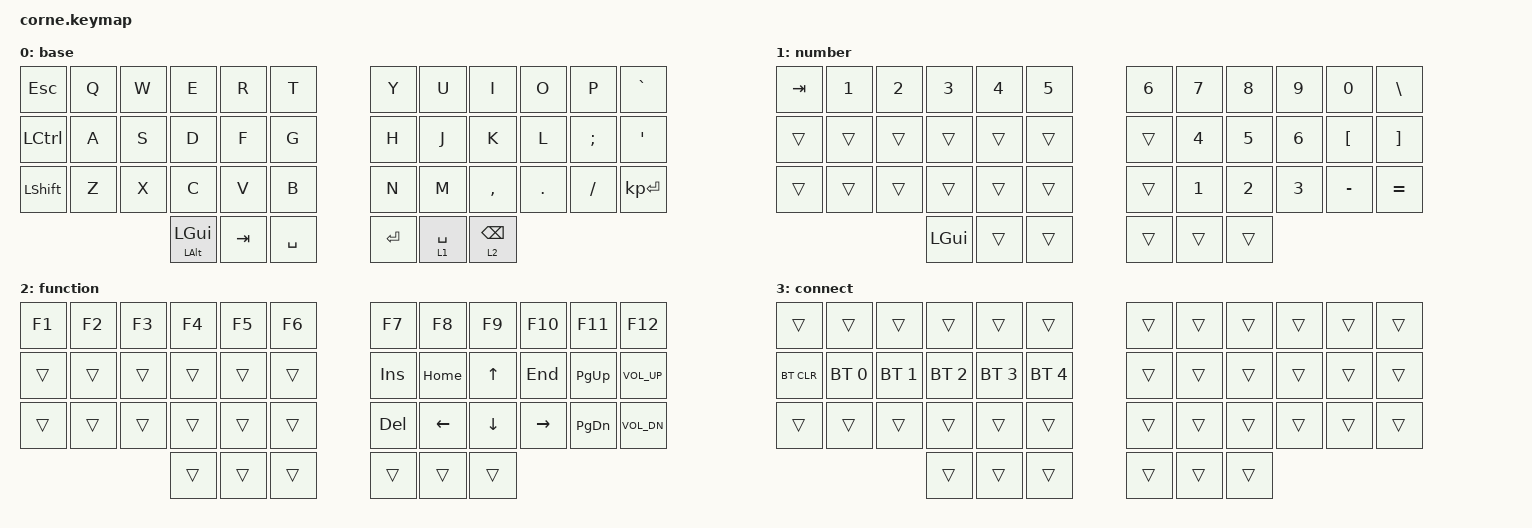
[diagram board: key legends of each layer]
/*
 * Copyright (c) 2020 The ZMK Contributors
 *
 * SPDX-License-Identifier: MIT
 */

#include <behaviors.dtsi>
#include <dt-bindings/zmk/bt.h>
#include <dt-bindings/zmk/keys.h>

&mt {
    tapping-term-ms = <125>;
    quick-tap-ms = <150>;
};

&lt {
    tapping-term-ms = <125>;
    quick-tap-ms = <150>;
};

/ {
    keymap {
        compatible = "zmk,keymap";

        default_layer {
            // -----------------------------------------------------------------------------------------
            // |  TAB |  Q  |  W  |  E  |  R  |  T  |   |  Y  |  U   |  I  |  O  |  P  | BSPC |
            // | CTRL |  A  |  S  |  D  |  F  |  G  |   |  H  |  J   |  K  |  L  |  ;  |  '   |
            // | SHFT |  Z  |  X  |  C  |  V  |  B  |   |  N  |  M   |  ,  |  .  |  /  | ESC  |
            //                    | GUI | LWR | SPC |   | ENT | RSE  | ALT |

            display-name = "base";
            bindings = <
&kp ESCAPE  &kp Q  &kp W  &kp E                  &kp R    &kp T        &kp Y    &kp U        &kp I            &kp O    &kp P     &kp GRAVE
&kp LCTRL   &kp A  &kp S  &kp D                  &kp F    &kp G        &kp H    &kp J        &kp K            &kp L    &kp SEMI  &kp SQT
&kp LSHFT   &kp Z  &kp X  &kp C                  &kp V    &kp B        &kp N    &kp M        &kp COMMA        &kp DOT  &kp FSLH  &kp KP_ENTER
                          &mt LEFT_ALT LEFT_GUI  &kp TAB  &kp SPACE    &kp RET  &lt 1 SPACE  &lt 2 BACKSPACE
            >;
        };

        raise_layer {
            // -----------------------------------------------------------------------------------------
            // |  TAB |  1  |  2  |  3  |  4  |  5  |   |  6  |  7  |  8  |  9  |  0  | BSPC |
            // | BTCLR| BT1 | BT2 | BT3 | BT4 | BT5 |   | LFT | DWN |  UP | RGT |     |      |
            // | SHFT |     |     |     |     |     |   |     |     |     |     |     |      |
            //                    | GUI |     | SPC |   | ENT |     | ALT |

            display-name = "number";
            bindings = <
&kp TAB  &kp N1  &kp N2  &kp N3        &kp N4  &kp N5    &kp N6  &kp N7  &kp N8  &kp N9  &kp N0     &kp BSLH
&trans   &trans  &trans  &trans        &trans  &trans    &trans  &kp N4  &kp N5  &kp N6  &kp LBKT   &kp RBKT
&trans   &trans  &trans  &trans        &trans  &trans    &trans  &kp N1  &kp N2  &kp N3  &kp MINUS  &kp EQUAL
                         &kp LEFT_GUI  &trans  &trans    &trans  &trans  &trans
            >;
        };

        lower_layer {
            // -----------------------------------------------------------------------------------------
            // |  TAB |  !  |  @  |  #  |  $  |  %  |   |  ^  |  &  |  *  |  (  |  )  | BSPC |
            // | CTRL |     |     |     |     |     |   |  -  |  =  |  [  |  ]  |  \  |  `   |
            // | SHFT |     |     |     |     |     |   |  _  |  +  |  {  |  }  | "|" |  ~   |
            //                    | GUI |     | SPC |   | ENT |     | ALT |

            display-name = "function";
            bindings = <
&kp F1  &kp F2  &kp F3  &kp F4  &kp F5  &kp F6    &kp F7   &kp F8    &kp F9    &kp F10    &kp F11    &kp F12
&trans  &trans  &trans  &trans  &trans  &trans    &kp INS  &kp HOME  &kp UP    &kp END    &kp PG_UP  &kp C_VOL_UP
&trans  &trans  &trans  &trans  &trans  &trans    &kp DEL  &kp LEFT  &kp DOWN  &kp RIGHT  &kp PG_DN  &kp C_VOL_DN
                        &trans  &trans  &trans    &trans   &trans    &trans
            >;
        };

        connection_layer {
            display-name = "connect";
            bindings = <
&trans      &trans        &trans        &trans        &trans        &trans          &trans  &trans  &trans  &trans  &trans  &trans
&bt BT_CLR  &bt BT_SEL 0  &bt BT_SEL 1  &bt BT_SEL 2  &bt BT_SEL 3  &bt BT_SEL 4    &trans  &trans  &trans  &trans  &trans  &trans
&trans      &trans        &trans        &trans        &trans        &trans          &trans  &trans  &trans  &trans  &trans  &trans
                                        &trans        &trans        &trans          &trans  &trans  &trans
            >;

            label = "connect";
        };
    };

    conditional_layers {
        compatible = "zmk,conditional-layers";

        connect_chord {
            if-layers = <1 2>;
            then-layer = <3>;
        };
    };
};
